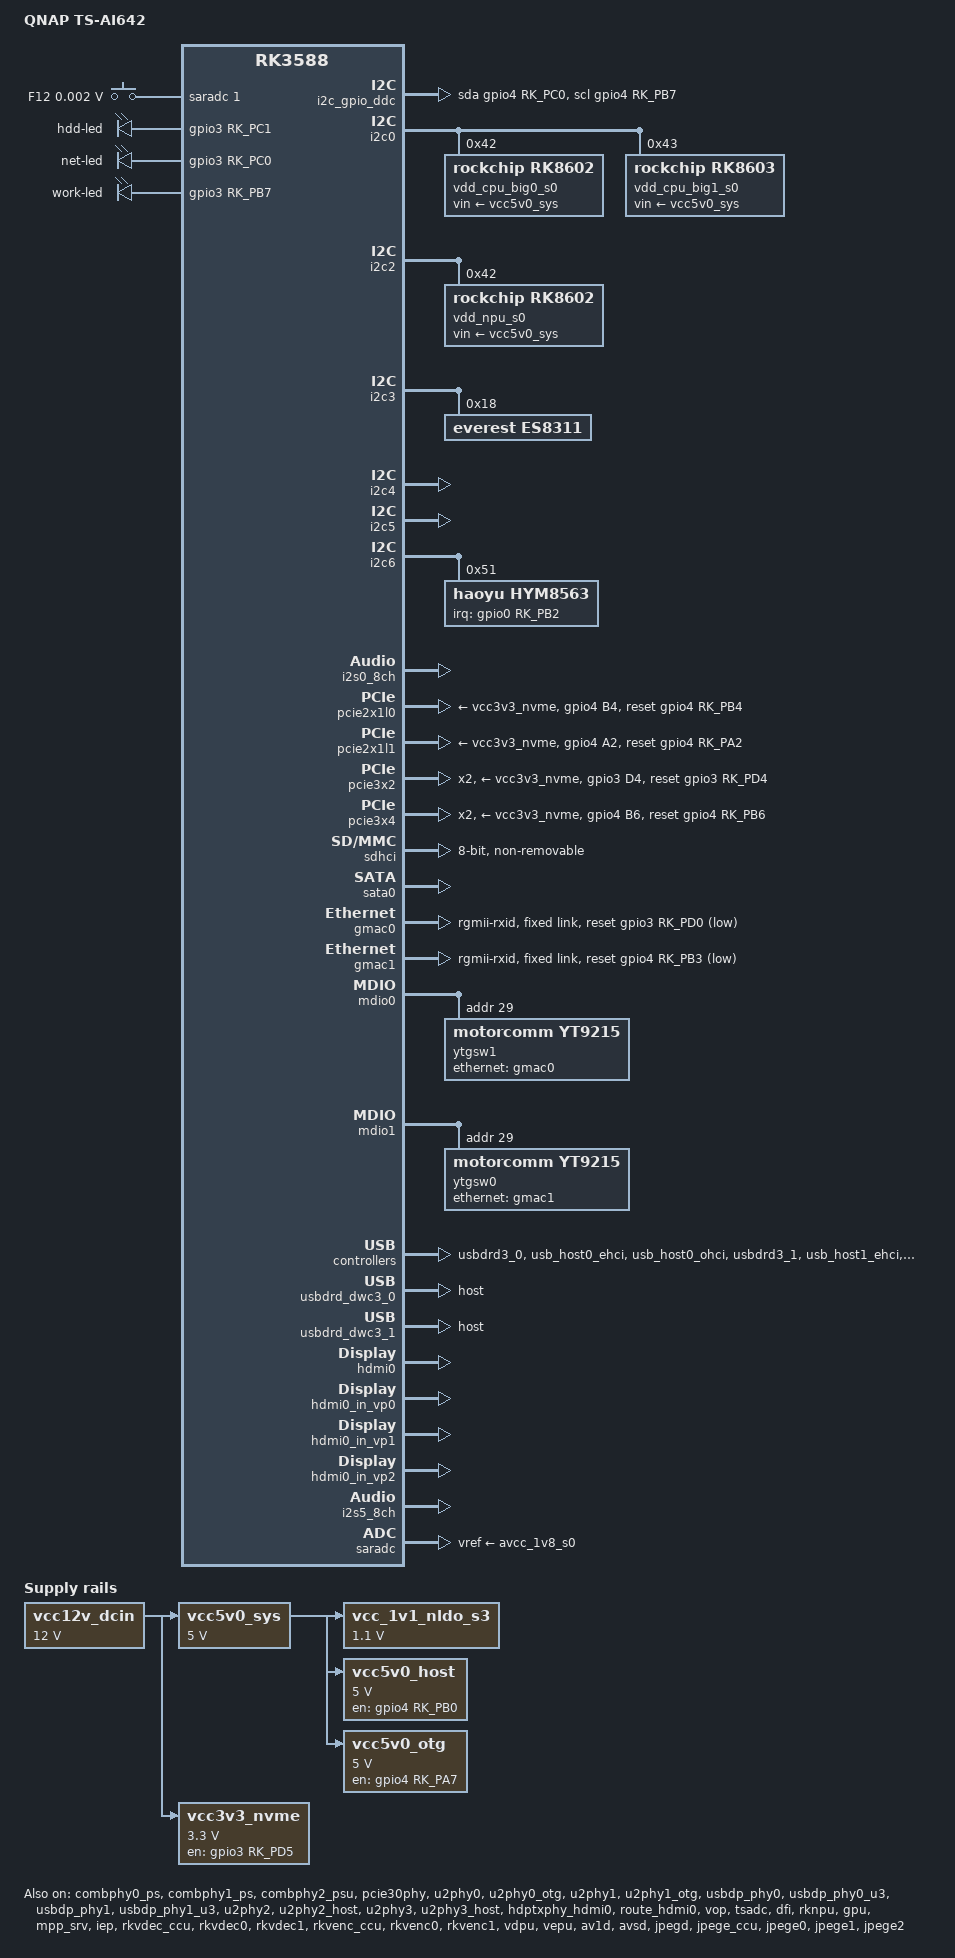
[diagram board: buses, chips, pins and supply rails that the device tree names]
// SPDX-License-Identifier: (GPL-2.0+ OR MIT)
/*
 * BDY G98 (RK3588) for QNAP TS-AI642 QTS build.
 *
 * 硬件事实来源（优先级从高到低）：
 *  1. rockchip develop-6.6 已验证适配 rk3588-bdy-g98.dts
 *     （BDY_G98_RK3588/rockchip-linux_develop-6.6/0001-adapt-...patch，fnOS 在跑）
 *  2. 原厂 SPI 备份反编译 dtb（rk3588-nvr-demo-v10-spi-nor 派生，很多外设没开）
 *
 * G98 硬件配置（与原厂 dts 核对）：
 *  - 2x M.2 NVMe：pcie3x4(fe150000) + pcie3x2(fe160000)，共享 pcie30phy，
 *    必须 PHY_MODE_PCIE_NANBNB（x2+x2 拆分），vcc3v3_nvme 统一供电 gpio3_PD5
 *  - 1x SATA：sata0(fe210000)，combphy0_ps，pm-reset gpio0_PD5
 *  - 2x 2.5G 网口：RTL8125 挂在 pcie2x1l0(fe170000)/pcie2x1l1(fe180000)
 *  - 8x 千兆网口：两颗 YT9215 交换机（各 4 口），RGMII 挂 gmac0/gmac1，
 *    DSA 驱动（mmyangfl 主线版回移 5.10，见 patch 0032/0033）
 *  - 2x USB3.0：usbdrd3_0(fc000000) + usbdrd3_1(fc400000)，均 host
 *  - 1x HDMI：hdmi0（DDC 硬件通路坏，用 i2c-gpio bitbang，6.6 dts 验证）
 *  - RTC hym8563 @ i2c6；PMIC rk806 @ spi2；CPU 大核 rk8602/rk8603 @ i2c0；
 *    NPU 电源 rk8602 @ i2c2；音频 es8311 @ i2c3（原厂开启，保留）
 *  - 无 PWM 风扇（原厂与 6.6 dts 均无 fan 节点）、无 SD 卡槽、无 wifi
 */

/dts-v1/;

#include <dt-bindings/gpio/gpio.h>
#include <dt-bindings/input/input.h>
#include <dt-bindings/pinctrl/rockchip.h>
#include <dt-bindings/display/rockchip_vop.h>
#include "rk3588.dtsi"
#include "rk3588-rk806-single.dtsi"

/ {
	model = "QNAP TS-AI642";
	compatible = "rockchip,rk3588-nvr-demo-v10", "rockchip,rk3588";

	aliases {
		mmc0 = &sdhci;
		mmc1 = &sdmmc;
	};

	fiq_debugger: fiq-debugger {
		compatible = "rockchip,fiq-debugger";
		rockchip,serial-id = <2>;
		rockchip,wake-irq = <0>;
		/* If enable uart uses irq instead of fiq */
		rockchip,irq-mode-enable = <1>;
		rockchip,baudrate = <115200>;  /* Only 115200 and 1500000 */
		interrupts = <GIC_SPI 423 IRQ_TYPE_LEVEL_LOW>;
		pinctrl-names = "default";
		pinctrl-0 = <&uart2m0_xfer>;
		status = "okay";
	};

	/*
	 * HDMI DDC over bitbanged GPIO. The dw-hdmi hardware DDC path on the
	 * hdmim0_tx0 pins only produces "i2c read err!" on this board; drive
	 * the same physical pins (GPIO4_B7=SCL, GPIO4_C0=SDA) with i2c-gpio.
	 * （6.6 dts 验证过的 G98 硬件缺陷 workaround）
	 */
	i2c_gpio_ddc: i2c-gpio-ddc {
		compatible = "i2c-gpio";
		#address-cells = <1>;
		#size-cells = <0>;
		scl-gpios = <&gpio4 RK_PB7 GPIO_ACTIVE_HIGH>;
		sda-gpios = <&gpio4 RK_PC0 GPIO_ACTIVE_HIGH>;
		i2c-gpio,delay-us = <5>;
		status = "okay";
	};

	/* System SRAM1 (1MB); first 512KB reserved for the rknpu driver. */
	sram@fd600000 {
		compatible = "mmio-sram";
		reg = <0x0 0xfd600000 0x0 0x100000>;
		#address-cells = <1>;
		#size-cells = <1>;
		ranges = <0x0 0x0 0xfd600000 0x100000>;

		rknpu_sram: rknpu-sram@0 {
			reg = <0x0 0x80000>;
		};
	};

	adc-keys {
		compatible = "adc-keys";
		io-channel-names = "buttons";
		io-channels = <&saradc 1>;
		keyup-threshold-microvolt = <1800000>;
		poll-interval = <100>;
		status = "okay";

		recovery-key {
			label = "F12";
			linux,code = <KEY_F12>;
			press-threshold-microvolt = <1750>;
		};
	};

	vcc12v_dcin: vcc12v-dcin {
		compatible = "regulator-fixed";
		regulator-always-on;
		regulator-boot-on;
		regulator-min-microvolt = <12000000>;
		regulator-max-microvolt = <12000000>;
		regulator-name = "vcc12v_dcin";
	};

	vcc5v0_sys: vcc5v0-sys {
		compatible = "regulator-fixed";
		regulator-always-on;
		regulator-boot-on;
		regulator-min-microvolt = <5000000>;
		regulator-max-microvolt = <5000000>;
		regulator-name = "vcc5v0_sys";
		vin-supply = <&vcc12v_dcin>;
	};

	vcc_1v1_nldo_s3: vcc-1v1-nldo-s3 {
		compatible = "regulator-fixed";
		regulator-name = "vcc_1v1_nldo_s3";
		regulator-always-on;
		regulator-boot-on;
		regulator-min-microvolt = <1100000>;
		regulator-max-microvolt = <1100000>;
		vin-supply = <&vcc5v0_sys>;
	};

	/* 两个 M.2 槽 + 两个 RTL8125 共用的 3.3V 供电（原厂名 vcc3v3_pcie30） */
	vcc3v3_nvme: vcc3v3-nvme {
		compatible = "regulator-fixed";
		regulator-min-microvolt = <3300000>;
		regulator-max-microvolt = <3300000>;
		regulator-name = "vcc3v3_nvme";
		vin-supply = <&vcc12v_dcin>;
		enable-active-high;
		gpios = <&gpio3 RK_PD5 GPIO_ACTIVE_HIGH>;
		startup-delay-us = <7500>;
		pinctrl-names = "default";
		pinctrl-0 = <&nvme_power_en>;
	};

	/*
	 * NOTE: 原厂/6.6 dts 均为单数 "gpio" 属性（fixed-regulator 实际解析
	 * "gpios"/"enable-gpios"），保持与已验证 dts 一致——该引脚仅由
	 * pinctrl 复用为 GPIO，VBUS 开关在本板为上浮有效。
	 */
	vcc5v0_host: vcc5v0-host-regulator {
		compatible = "regulator-fixed";
		enable-active-high;
		gpio = <&gpio4 RK_PB0 GPIO_ACTIVE_HIGH>;
		pinctrl-names = "default";
		pinctrl-0 = <&vcc5v0_host_en>;
		regulator-name = "vcc5v0_host";
		regulator-boot-on;
		regulator-always-on;
		regulator-min-microvolt = <5000000>;
		regulator-max-microvolt = <5000000>;
		vin-supply = <&vcc5v0_sys>;
	};

	vcc5v0_otg: vcc5v0-otg-regulator {
		compatible = "regulator-fixed";
		enable-active-high;
		gpio = <&gpio4 RK_PA7 GPIO_ACTIVE_HIGH>;
		pinctrl-names = "default";
		pinctrl-0 = <&vcc5v0_otg_en>;
		regulator-min-microvolt = <5000000>;
		regulator-max-microvolt = <5000000>;
		regulator-name = "vcc5v0_otg";
		vin-supply = <&vcc5v0_sys>;
	};

	leds: gpio-leds {
		compatible = "gpio-leds";
		status = "okay";

		hdd-led {
			default-state = "off";
			gpios = <&gpio3 RK_PC1 GPIO_ACTIVE_HIGH>;
		};

		net-led {
			default-state = "off";
			gpios = <&gpio3 RK_PC0 GPIO_ACTIVE_HIGH>;
		};

		work-led {
			gpios = <&gpio3 RK_PB7 GPIO_ACTIVE_HIGH>;
			linux,default-trigger = "heartbeat";
		};
	};

	/* HDMI audio: i2s5_8ch -> hdmi0 (BSP "rockchip,hdmi" machine) */
	hdmi0_sound: hdmi0-sound {
		compatible = "rockchip,hdmi";
		rockchip,mclk-fs = <128>;
		rockchip,card-name = "rockchip-hdmi0";
		rockchip,cpu = <&i2s5_8ch>;
		rockchip,codec = <&hdmi0>;
		rockchip,jack-det;
		status = "okay";
	};

	/* es8311 音频（原厂 dts 开启，i2c3 + i2s0） */
	i2s0_sound: i2s0-sound {
		status = "okay";
		compatible = "simple-audio-card";
		simple-audio-card,format = "i2s";
		simple-audio-card,mclk-fs = <256>;
		simple-audio-card,name = "rockchip,es8311";
		simple-audio-card,dai-link@0 {
			format = "i2s";
			cpu {
				sound-dai = <&i2s0_8ch>;
			};
			codec {
				sound-dai = <&es8311>;
			};
		};
	};
};

/* ===== CPU 供电 ===== */

&cpu_l0 {
	cpu-supply = <&vdd_cpu_lit_s0>;
	mem-supply = <&vdd_cpu_lit_s0>;
};

&cpu_l1 {
	cpu-supply = <&vdd_cpu_lit_s0>;
	mem-supply = <&vdd_cpu_lit_s0>;
};

&cpu_l2 {
	cpu-supply = <&vdd_cpu_lit_s0>;
	mem-supply = <&vdd_cpu_lit_s0>;
};

&cpu_l3 {
	cpu-supply = <&vdd_cpu_lit_s0>;
	mem-supply = <&vdd_cpu_lit_s0>;
};

&cpu_b0 {
	cpu-supply = <&vdd_cpu_big0_s0>;
	mem-supply = <&vdd_cpu_big0_s0>;
};

&cpu_b1 {
	cpu-supply = <&vdd_cpu_big0_s0>;
	mem-supply = <&vdd_cpu_big0_s0>;
};

&cpu_b2 {
	cpu-supply = <&vdd_cpu_big1_s0>;
	mem-supply = <&vdd_cpu_big1_s0>;
};

&cpu_b3 {
	cpu-supply = <&vdd_cpu_big1_s0>;
	mem-supply = <&vdd_cpu_big1_s0>;
};

&i2c0 {
	pinctrl-names = "default";
	pinctrl-0 = <&i2c0m2_xfer>;
	status = "okay";

	vdd_cpu_big0_s0: vdd_cpu_big0_mem_s0: rk8602@42 {
		compatible = "rockchip,rk8602";
		reg = <0x42>;
		rockchip,suspend-voltage-selector = <1>;
		regulator-compatible = "rk860x-reg";
		regulator-name = "vdd_cpu_big0_s0";
		regulator-always-on;
		regulator-boot-on;
		regulator-min-microvolt = <550000>;
		regulator-max-microvolt = <1050000>;
		regulator-ramp-delay = <2300>;
		vin-supply = <&vcc5v0_sys>;

		regulator-state-mem {
			regulator-off-in-suspend;
		};
	};

	vdd_cpu_big1_s0: vdd_cpu_big1_mem_s0: rk8603@43 {
		compatible = "rockchip,rk8603";
		reg = <0x43>;
		rockchip,suspend-voltage-selector = <1>;
		regulator-compatible = "rk860x-reg";
		regulator-name = "vdd_cpu_big1_s0";
		regulator-always-on;
		regulator-boot-on;
		regulator-min-microvolt = <550000>;
		regulator-max-microvolt = <1050000>;
		regulator-ramp-delay = <2300>;
		vin-supply = <&vcc5v0_sys>;

		regulator-state-mem {
			regulator-off-in-suspend;
		};
	};
};

/* ===== PMIC (rk806, spi2) ===== */

&rk806single {
	pinctrl-names = "default", "pmic-power-off", "pmic-reset", "pmic-sleep";
	pinctrl-0 = <&pmic_pins &rk806_dvs1_null &rk806_dvs2_null &rk806_dvs3_null>;
	pinctrl-1 = <&rk806_dvs1_pwrdn>;
	pinctrl-2 = <&rk806_dvs1_rst>;
	pinctrl-3 = <&rk806_dvs1_slp>;
	system-power-controller;
};

&rk806_dvs1_null {
	pins = "gpio_pwrctrl1";
};

/* ===== 休眠/关机 ===== */

&rockchip_suspend {
	rockchip,virtual-poweroff = <1>;
	status = "okay";
};

/* ===== I2C / RTC ===== */

&i2c1 {
	status = "disabled";
};

&i2c2 {
	pinctrl-names = "default";
	pinctrl-0 = <&i2c2m0_xfer>;
	status = "okay";

	/* NPU core/mem 电源轨在本板挂在同一片 rk8602 上 */
	vdd_npu_s0: vdd_npu_mem_s0: rk8602@42 {
		compatible = "rockchip,rk8602";
		reg = <0x42>;
		rockchip,suspend-voltage-selector = <1>;
		regulator-compatible = "rk860x-reg";
		regulator-name = "vdd_npu_s0";
		regulator-always-on;
		regulator-boot-on;
		regulator-enable-ramp-delay = <500>;
		regulator-min-microvolt = <550000>;
		regulator-max-microvolt = <950000>;
		regulator-ramp-delay = <2300>;
		vin-supply = <&vcc5v0_sys>;

		regulator-state-mem {
			regulator-off-in-suspend;
		};
	};
};

&i2c3 {
	pinctrl-names = "default";
	pinctrl-0 = <&i2c3m0_xfer>;
	status = "okay";

	es8311: es8311@18 {
		status = "okay";
		compatible = "everest,es8311";
		reg = <0x18>;
		#sound-dai-cells = <0>;
		clocks = <&cru I2S0_8CH_MCLKOUT>;
		clock-names = "mclk";
		assigned-clocks = <&cru I2S0_8CH_MCLKOUT>;
		assigned-clock-rates = <12288000>;
		pinctrl-names = "default";
		pinctrl-0 = <&i2s0_mclk>;
	};
};

&i2c4 {
	pinctrl-names = "default";
	pinctrl-0 = <&i2c4m3_xfer>;
	status = "okay";
};

&i2c5 {
	status = "okay";
};

&i2c6 {
	pinctrl-names = "default";
	pinctrl-0 = <&i2c6m0_xfer>;
	status = "okay";

	hym8563: hym8563@51 {
		compatible = "haoyu,hym8563";
		reg = <0x51>;
		#clock-cells = <0>;
		clock-output-names = "hym8563";
		pinctrl-names = "default";
		pinctrl-0 = <&hym8563_int>;
		interrupt-parent = <&gpio0>;
		interrupts = <RK_PB2 IRQ_TYPE_LEVEL_LOW>;
		wakeup-source;
	};
};

&i2s0_8ch {
	status = "okay";
};

/* ===== PCIe PHY ===== */

&combphy0_ps {
	pinctrl-0 = <&sata0_pm_reset>;
	pinctrl-names = "default";
	status = "okay";
};

&combphy1_ps {
	status = "okay";
};

&combphy2_psu {
	status = "okay";
};

/*
 * 双 M.2 关键配置：pcie30phy 必须 NANBNB（x2+x2 拆分），
 * 对应主线 data-lanes = <1 1 2 2>；缺了它 pcie3x2(第二槽) 永远没有 lane。
 */
&pcie30phy {
	rockchip,pcie30-phymode = <PHY_MODE_PCIE_NANBNB>;
	status = "okay";
};

/* ===== PCIe 控制器 ===== */

// pcie2x1l0: pcie@fe170000 -> RTL8125 (0002:21:00.0) 2.5G 网口 1
&pcie2x1l0 {
	pinctrl-names = "default";
	rockchip,perst-inactive-ms = <500>;
	pinctrl-0 = <&pcie2_0_rst>;
	supports-clkreq;
	reset-gpios = <&gpio4 RK_PB4 GPIO_ACTIVE_HIGH>;
	vpcie3v3-supply = <&vcc3v3_nvme>;
	status = "okay";

	/*
	 * 部分出厂 RTL8125 配置 EEPROM 为空，默认 LEDSEL 在 2.5G 下
	 * RJ45 LED 不亮；四组 LED 全部设为任意速率亮/活动闪烁。
	 * 节点层级必须镜像 PCI 拓扑（root port -> endpoint），
	 * 属性由支持 r8125,ledN 的驱动解析；不支持的驱动会安全忽略。
	 */
	pcie@0,0 {
		reg = <0x0000 0 0 0 0>;
		#address-cells = <3>;
		#size-cells = <2>;
		ranges;

		ethernet@0,0 {
			reg = <0x0000 0 0 0 0>;
			r8125,led0 = <0x22b>;
			r8125,led1 = <0x22b>;
			r8125,led2 = <0x22b>;
			r8125,led3 = <0x22b>;
		};
	};
};

// pcie2x1l1: pcie@fe180000 -> RTL8125 (0003:31:00.0) 2.5G 网口 2
&pcie2x1l1 {
	pinctrl-names = "default";
	rockchip,perst-inactive-ms = <500>;
	pinctrl-0 = <&pcie2_1_rst>;
	supports-clkreq;
	reset-gpios = <&gpio4 RK_PA2 GPIO_ACTIVE_HIGH>;
	vpcie3v3-supply = <&vcc3v3_nvme>;
	status = "okay";

	pcie@0,0 {
		reg = <0x0000 0 0 0 0>;
		#address-cells = <3>;
		#size-cells = <2>;
		ranges;

		ethernet@0,0 {
			reg = <0x0000 0 0 0 0>;
			r8125,led0 = <0x22b>;
			r8125,led1 = <0x22b>;
			r8125,led2 = <0x22b>;
			r8125,led3 = <0x22b>;
		};
	};
};

// pcie2x1l2: pcie@fe190000 未使用
&pcie2x1l2 {
	status = "disabled";
};

// pcie3x2: pcie@fe160000 -> M.2 槽 2（近 SATA）
&pcie3x2 {
	pinctrl-names = "default";
	rockchip,perst-inactive-ms = <500>;
	pinctrl-0 = <&pcie3x2_rst>;
	num-lanes = <2>;
	reset-gpios = <&gpio3 RK_PD4 GPIO_ACTIVE_HIGH>;
	vpcie3v3-supply = <&vcc3v3_nvme>;
	status = "okay";
};

// pcie3x4: pcie@fe150000 -> M.2 槽 1（近 CPU，x2 电气）
&pcie3x4 {
	pinctrl-names = "default";
	rockchip,perst-inactive-ms = <500>;
	pinctrl-0 = <&pcie3x4_rst>;
	num-lanes = <2>;
	reset-gpios = <&gpio4 RK_PB6 GPIO_ACTIVE_HIGH>;
	vpcie3v3-supply = <&vcc3v3_nvme>;
	status = "okay";
};

/* ===== 引脚 ===== */

&pinctrl {
	hym8563 {
		hym8563_int: hym8563-int {
			rockchip,pins = <0 RK_PB2 RK_FUNC_GPIO &pcfg_pull_up>;
		};
	};

	pcie {
		pcie2_0_rst: pcie2-0-rst {
			rockchip,pins = <4 RK_PB4 RK_FUNC_GPIO &pcfg_pull_none>;
		};

		pcie2_1_rst: pcie2-1-rst {
			rockchip,pins = <4 RK_PA2 RK_FUNC_GPIO &pcfg_pull_none>;
		};

		pcie3x2_rst: pcie3x2-rst {
			rockchip,pins = <3 RK_PD4 RK_FUNC_GPIO &pcfg_pull_none>;
		};

		pcie3x4_rst: pcie3x4-rst {
			rockchip,pins = <4 RK_PB6 RK_FUNC_GPIO &pcfg_pull_none>;
		};
	};

	nvme {
		nvme_power_en: nvme-power-en {
			rockchip,pins = <3 RK_PD5 RK_FUNC_GPIO &pcfg_pull_none>;
		};
	};

	usb {
		vcc5v0_host_en: vcc5v0-host-en {
			rockchip,pins = <4 RK_PB0 RK_FUNC_GPIO &pcfg_pull_none>;
		};

		vcc5v0_otg_en: vcc5v0-otg-en {
			rockchip,pins = <4 RK_PA7 RK_FUNC_GPIO &pcfg_pull_none>;
		};
	};

	sata {
		sata0_pm_reset: sata0-pm-reset {
			rockchip,pins = <0 RK_PD5 RK_FUNC_GPIO &pcfg_output_high>;
		};
	};
};

/* ===== 存储 ===== */

&sdhci {
	bus-width = <8>;
	no-sdio;
	no-sd;
	supports-emmc;
	non-removable;
	mmc-hs200-1_8v;
	mmc-hs400-1_8v;
	mmc-hs400-enhanced-strobe;
	status = "okay";
};

/* G98 无 SD 卡槽、无 SDIO wifi */
&sdmmc {
	status = "disabled";
};

&sdio {
	/delete-property/ pinctrl-0;
	/delete-property/ pinctrl-names;
	status = "disabled";
};

/* G98 仅 1 个 SATA 口 */
&sata0 {
	status = "okay";
};

&sata1 {
	status = "disabled";
};

&sata2 {
	status = "disabled";
};

/* ===== 网口（2x YT9215 交换机，DSA 驱动） =====
 *
 * gmac0/gmac1 各通过 RGMII 接一颗 YT9215（各出 4 个千兆口），DSA 驱动
 * （kernel-patchs-523/0032+0033，主线 mmyangfl 版回移 5.10）：
 * 每颗交换机的用户口 port@1-4 出 lan，port@9 为 CPU 口（fixed-link 挂在
 * 交换机节点上，gmac 侧不带 fixed-link）；内部 PHY 经驱动 phy_read/
 * phy_write 注册到 DSA slave mii bus，用户口不写 phy-handle。
 * 两颗交换机无 DSA 互联链路，各成一棵树（dsa,member=<0 0>/<1 0>，
 * 5.10 支持该属性；缺省则两颗都进 tree 0，CPU 口会配错）。
 * lan 编号：mdio1/gmac1 侧 lan1-4，mdio0/gmac0 侧 lan5-8。
 */

&gmac0 {
	clock_in_out = "output";
	phy-mode = "rgmii-rxid";
	tx_delay = <0x44>;
	pinctrl-0 = <&gmac0_miim &gmac0_tx_bus2 &gmac0_rx_bus2 &gmac0_rgmii_clk &gmac0_rgmii_bus>;
	pinctrl-names = "default";
	snps,reset-active-low;
	snps,reset-delays-us = <0x00 0x4e20 0x186a0>;
	snps,reset-gpio = <&gpio3 RK_PD0 GPIO_ACTIVE_LOW>;
	status = "okay";

	/* 5.10 stmmac 无 phy-handle/fixed-link 时 stmmac_open 失败(-ENODEV)，
	 * DSA conduit 无法 up；恢复 fixed-link（与交换机 cpu 口侧不冲突） */
	fixed-link {
		speed = <1000>;
		full-duplex;
		pause;
	};
};

&gmac1 {
	clock_in_out = "output";
	phy-mode = "rgmii-rxid";
	tx_delay = <0x42>;
	pinctrl-0 = <&gmac1_miim &gmac1_tx_bus2 &gmac1_rx_bus2 &gmac1_rgmii_clk &gmac1_rgmii_bus>;
	pinctrl-names = "default";
	snps,reset-active-low;
	snps,reset-delays-us = <0x00 0x4e20 0x186a0>;
	snps,reset-gpio = <&gpio4 RK_PB3 GPIO_ACTIVE_LOW>;
	status = "okay";

	fixed-link {
		speed = <1000>;
		full-duplex;
		pause;
	};
};

&mdio0 {
	ytgsw1: switch@1d {
		compatible = "motorcomm,yt9215";
		reg = <0x1d>;
		dsa,member = <1 0>;

		ethernet-ports {
			#address-cells = <1>;
			#size-cells = <0>;

			ethernet-port@1 {
				reg = <1>;
				label = "lan5";
				phy-mode = "internal";
			};
			ethernet-port@2 {
				reg = <2>;
				label = "lan6";
				phy-mode = "internal";
			};
			ethernet-port@3 {
				reg = <3>;
				label = "lan7";
				phy-mode = "internal";
			};
			ethernet-port@4 {
				reg = <4>;
				label = "lan8";
				phy-mode = "internal";
			};
			ethernet-port@9 {
				reg = <9>;
				label = "cpu";
				ethernet = <&gmac0>;
				phy-mode = "rgmii-txid";

				fixed-link {
					speed = <1000>;
					full-duplex;
					pause;
				};
			};
		};
	};
};

&mdio1 {
	ytgsw0: switch@1d {
		compatible = "motorcomm,yt9215";
		reg = <0x1d>;
		dsa,member = <0 0>;

		ethernet-ports {
			#address-cells = <1>;
			#size-cells = <0>;

			ethernet-port@1 {
				reg = <1>;
				label = "lan1";
				phy-mode = "internal";
			};
			ethernet-port@2 {
				reg = <2>;
				label = "lan2";
				phy-mode = "internal";
			};
			ethernet-port@3 {
				reg = <3>;
				label = "lan3";
				phy-mode = "internal";
			};
			ethernet-port@4 {
				reg = <4>;
				label = "lan4";
				phy-mode = "internal";
			};
			ethernet-port@9 {
				reg = <9>;
				label = "cpu";
				ethernet = <&gmac1>;
				phy-mode = "rgmii-txid";

				fixed-link {
					speed = <1000>;
					full-duplex;
					pause;
				};
			};
		};
	};
};

/* ===== UART ===== */

/*
 * 串口控制台由 fiq-debugger(ttyFIQ0) 占用 uart2。
 * uart7 本板未使用，保持 disabled。
 * （注：早期 6.6 dts 注释称 uart7m2 与 pcie2x1l0 PERST# 冲突，那是
 *  PERST# 被误记为 GPIO1_PB4 时的结论；实际 PERST# 是 GPIO4_PB4，
 *  与 uart7m2 的 GPIO1_PB4/PB5 并无冲突。）
 */
&uart7 {
	status = "disabled";
};

/* ===== USB ===== */

&u2phy0 {
	status = "okay";
};

&u2phy0_otg {
	phy-supply = <&vcc5v0_otg>;
	status = "okay";
};

&u2phy1 {
	status = "okay";
};

&u2phy1_otg {
	phy-supply = <&vcc5v0_host>;
	status = "okay";
};

&usbdp_phy0 {
	rockchip,dp-lane-mux = <2 3>;
	status = "okay";
};

&usbdp_phy0_u3 {
	status = "okay";
};

&usbdp_phy1 {
	rockchip,dp-lane-mux = <2 3>;
	status = "okay";
};

&usbdp_phy1_u3 {
	status = "okay";
};

&u2phy2 {
	status = "okay";
};

&u2phy2_host {
	phy-supply = <&vcc5v0_host>;
	status = "okay";
};

&usbdrd3_0 {
	status = "okay";
};

&usbdrd_dwc3_0 {
	dr_mode = "host";
	status = "okay";
};

&usb_host0_ehci {
	status = "okay";
};

&usb_host0_ohci {
	status = "okay";
};

&u2phy3 {
	status = "okay";
};

&u2phy3_host {
	phy-supply = <&vcc5v0_host>;
	status = "okay";
};

&usbdrd3_1 {
	status = "okay";
};

&usbdrd_dwc3_1 {
	dr_mode = "host";
	status = "okay";
};

&usb_host1_ehci {
	status = "okay";
};

&usb_host1_ohci {
	status = "okay";
};

&usbhost3_0 {
	status = "okay";
};

&usbhost_dwc3_0 {
	status = "okay";
};

/* ===== HDMI（G98 仅 hdmi0） ===== */

&hdptxphy_hdmi0 {
	status = "okay";
};

&hdmi0 {
	enable-gpios = <&gpio4 RK_PB1 GPIO_ACTIVE_HIGH>;

	ddc-i2c-bus = <&i2c_gpio_ddc>;
	pinctrl-0 = <&hdmim0_tx0_cec &hdmim0_tx0_hpd>;
	status = "okay";
};

&hdmi0_in_vp0 {
	status = "okay";
};

&hdmi0_in_vp1 {
	status = "okay";
};

&hdmi0_in_vp2 {
	status = "okay";
};

&route_hdmi0 {
	status = "okay";
};

&i2s5_8ch {
	status = "okay";
};

&vop_mmu {
	status = "okay";
};

&vop {
	/* rockchip-vop2 fails probe with -ENODEV without this */
	vop-supply = <&vdd_log_s0>;
	status = "okay";
};

&vp0 {
	rockchip,plane-mask = <(1 << ROCKCHIP_VOP2_CLUSTER0 |
				1 << ROCKCHIP_VOP2_ESMART0)>;
	rockchip,primary-plane = <ROCKCHIP_VOP2_ESMART0>;
};

&vp1 {
	rockchip,plane-mask = <(1 << ROCKCHIP_VOP2_CLUSTER1 |
				1 << ROCKCHIP_VOP2_ESMART1)>;
	rockchip,primary-plane = <ROCKCHIP_VOP2_ESMART1>;
};

&vp2 {
	rockchip,plane-mask = <(1 << ROCKCHIP_VOP2_CLUSTER2 |
				1 << ROCKCHIP_VOP2_ESMART2)>;
	rockchip,primary-plane = <ROCKCHIP_VOP2_ESMART2>;
};

&vp3 {
	rockchip,plane-mask = <(1 << ROCKCHIP_VOP2_CLUSTER3 |
				1 << ROCKCHIP_VOP2_ESMART3)>;
	rockchip,primary-plane = <ROCKCHIP_VOP2_ESMART3>;
};

/* ===== 其他 ===== */

&saradc {
	vref-supply = <&avcc_1v8_s0>;
	status = "okay";
};

&tsadc {
	/* BSP thermal driver bails out without the GRF phandle */
	rockchip,grf = <&sys_grf>;
	status = "okay";
};

&dfi {
	status = "okay";
};

/* ===== NPU / GPU / VPU / RGA ===== */

&rknpu {
	reg = <0x0 0xfdab0000 0x0 0x5000>,
	      <0x0 0xfdac0000 0x0 0x5000>,
	      <0x0 0xfdad0000 0x0 0x5000>;
	rockchip,sram = <&rknpu_sram>;
	rknpu-supply = <&vdd_npu_s0>;
	mem-supply = <&vdd_npu_mem_s0>;
	status = "okay";
};

&rknpu_mmu {
	status = "okay";
};

&gpu {
	mali-supply = <&vdd_gpu_s0>;
	mem-supply = <&vdd_gpu_mem_s0>;
	status = "okay";
};

&mpp_srv {
	status = "okay";
};

&iep {
	status = "okay";
};

&iep_mmu {
	status = "okay";
};

&rkvdec_ccu {
	status = "okay";
};

&rkvdec0 {
	status = "okay";
};

&rkvdec0_mmu {
	status = "okay";
};

&rkvdec1 {
	status = "okay";
};

&rkvdec1_mmu {
	status = "okay";
};

&rkvenc_ccu {
	status = "okay";
};

&rkvenc0 {
	venc-supply = <&vdd_vdenc_s0>;
	mem-supply = <&vdd_vdenc_mem_s0>;
	status = "okay";
};

&rkvenc0_mmu {
	status = "okay";
};

&rkvenc1 {
	venc-supply = <&vdd_vdenc_s0>;
	mem-supply = <&vdd_vdenc_mem_s0>;
	status = "okay";
};

&rkvenc1_mmu {
	status = "okay";
};

&vdpu {
	status = "okay";
};

&vdpu_mmu {
	status = "okay";
};

&vepu {
	status = "okay";
};

&av1d {
	status = "okay";
};

&av1d_mmu {
	status = "okay";
};

&avsd {
	status = "okay";
};

&jpegd {
	status = "okay";
};

&jpegd_mmu {
	status = "okay";
};

&jpege_ccu {
	status = "okay";
};

&jpege0 {
	status = "okay";
};

&jpege0_mmu {
	status = "okay";
};

&jpege1 {
	status = "okay";
};

&jpege1_mmu {
	status = "okay";
};

&jpege2 {
	status = "okay";
};

&jpege2_mmu {
	status = "okay";
};

&jpege3 {
	status = "okay";
};

&jpege3_mmu {
	status = "okay";
};

&rga2 {
	status = "okay";
};

&rga3_core0 {
	status = "okay";
};

&rga3_0_mmu {
	status = "okay";
};

&rga3_core1 {
	status = "okay";
};

&rga3_1_mmu {
	status = "okay";
};
